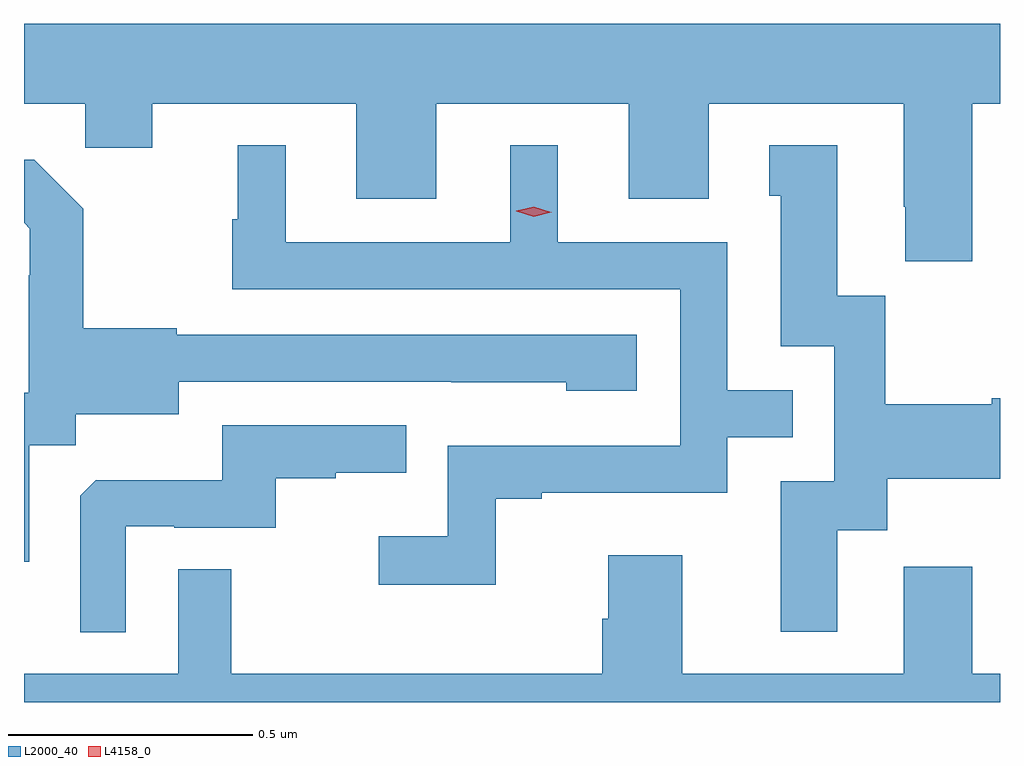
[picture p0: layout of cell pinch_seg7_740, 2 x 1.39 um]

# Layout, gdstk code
import gdstk
lib = gdstk.Library(unit=1e-6, precision=1e-09)
def P(c, l, *ps):  # polygons
    for p in ps: c.add(gdstk.Polygon(p, *l))
L2000_40 = (2000, 40)
L4158_0 = (4158, 0)

pinch_seg7_740 = lib.new_cell('pinch_seg7_740')
P(pinch_seg7_740, L2000_40, [(242.617,1028.588),(242.674,1028.588),(242.674,1028.752),(240.674,1028.752),(240.674,1028.588),(240.799,1028.588),(240.799,1028.498),(240.937,1028.498),(240.937,1028.588),(241.355,1028.588),(241.355,1028.394),(241.519,1028.394),(241.519,1028.588),(241.913,1028.588),(241.913,1028.394),(242.077,1028.394),(242.077,1028.588),(242.477,1028.588),(242.477,1028.377),(242.48,1028.377),(242.48,1028.265),(242.617,1028.265)],
  [(242.341,1027.714),(242.443,1027.714),(242.443,1027.82),(242.674,1027.82),(242.674,1027.985),(242.657,1027.985),(242.657,1027.972),(242.439,1027.972),(242.439,1028.195),(242.341,1028.195),(242.341,1028.503),(242.201,1028.503),(242.201,1028.4),(242.225,1028.4),(242.225,1028.091),(242.334,1028.091),(242.334,1027.815),(242.225,1027.815),(242.225,1027.506),(242.341,1027.506)],
  [(241.641,1027.779),(241.735,1027.779),(241.735,1027.791),(242.115,1027.791),(242.115,1027.905),(242.249,1027.905),(242.249,1028.001),(242.115,1028.001),(242.115,1028.304),(241.768,1028.304),(241.768,1028.503),(241.67,1028.503),(241.67,1028.304),(241.21,1028.304),(241.21,1028.503),(241.112,1028.503),(241.112,1028.352),(241.101,1028.352),(241.101,1028.208),(242.019,1028.208),(242.019,1027.887),(241.542,1027.887),(241.542,1027.702),(241.401,1027.702),(241.401,1027.603),(241.641,1027.603)],
  [(240.685,1027.888),(240.78,1027.888),(240.78,1027.952),(240.991,1027.952),(240.991,1028.019),(241.549,1028.019),(241.549,1028.018),(241.785,1028.018),(241.785,1028),(241.93,1028),(241.93,1028.115),(240.987,1028.115),(240.987,1028.128),(240.795,1028.128),(240.795,1028.373),(240.695,1028.473),(240.674,1028.473),(240.674,1028.344),(240.686,1028.332),(240.686,1028.237),(240.684,1028.237),(240.684,1027.996),(240.674,1027.996),(240.674,1027.65),(240.685,1027.65)],
  [(240.882,1027.722),(240.982,1027.722),(240.982,1027.719),(241.19,1027.719),(241.19,1027.821),(241.313,1027.821),(241.313,1027.832),(241.457,1027.832),(241.457,1027.929),(241.08,1027.929),(241.08,1027.817),(240.821,1027.817),(240.789,1027.785),(240.789,1027.505),(240.882,1027.505)],
  [(242.674,1027.42),(242.617,1027.42),(242.617,1027.639),(242.477,1027.639),(242.477,1027.42),(242.023,1027.42),(242.023,1027.663),(241.871,1027.663),(241.871,1027.533),(241.859,1027.533),(241.859,1027.42),(241.099,1027.42),(241.099,1027.634),(240.99,1027.634),(240.99,1027.42),(240.674,1027.42),(240.674,1027.362),(242.674,1027.362)])
P(pinch_seg7_740, L4158_0, [(241.719,1028.357),(241.683,1028.368),(241.683,1028.369),(241.683,1028.369),(241.719,1028.377),(241.754,1028.366),(241.755,1028.366),(241.754,1028.366)])

lib.write_gds('pinch_seg7_740.gds')
